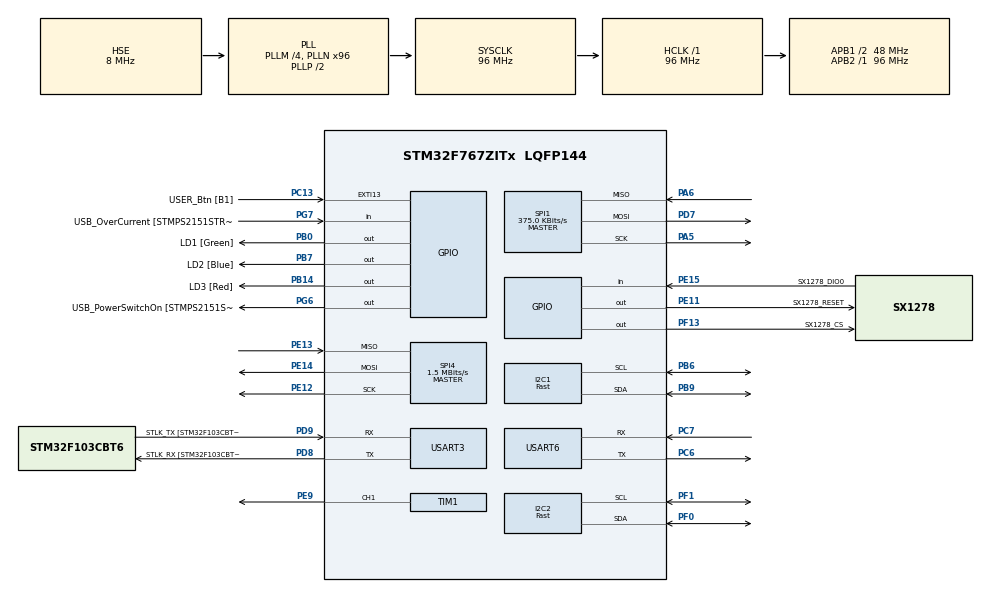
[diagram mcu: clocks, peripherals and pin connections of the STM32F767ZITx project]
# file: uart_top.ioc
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FREERTOS.Queues01=uartRxQueue,10,UART_Command_t,0,Dynamic,NULL,NULL;commandExecQueue,10,uint16_t,0,Dynamic,NULL,NULL
FREERTOS.Tasks01=UartParserTask,0,1024,Uart_Parser_Task,Default,NULL,Dynamic,NULL,NULL;defaultTask0,-3,128,defaultTask,Default,NULL,Dynamic,NULL,NULL;TaskDispatxher,-3,1024,Dispatcher_Task,Default,NULL,Dynamic,NULL,NULL
FREERTOS.configUSE_NEWLIB_REENTRANT=1
I2C1.I2C_Speed_Mode=I2C_Fast
I2C1.Timing=0x2010091A
I2C2.I2C_Speed_Mode=I2C_Fast
I2C2.Timing=0x2010091A
Mcu.Family=STM32F7
Mcu.Name=STM32F767ZITx
Mcu.Package=LQFP144
NVIC.PriorityGroup=NVIC_PRIORITYGROUP_4
NVIC.TIM6_DAC_IRQn=true\:15\:0\:false\:false\:true\:false\:false\:true\:true
NVIC.TimeBase=TIM6_DAC_IRQn
NVIC.TimeBaseIP=TIM6
NVIC.USART3_IRQn=true\:5\:0\:false\:false\:true\:true\:true\:true\:true
NVIC.USART6_IRQn=true\:5\:0\:false\:false\:true\:true\:true\:true\:true
PA1.GPIO_Label=RMII_REF_CLK [LAN8742A-CZ-TR_REFCLK0]
PA1.Signal=ETH_REF_CLK
PA10.GPIO_Label=USB_ID
PA10.Signal=USB_OTG_FS_ID
PA11.GPIO_Label=USB_DM
PA11.Signal=USB_OTG_FS_DM
PA12.GPIO_Label=USB_DP
PA12.Signal=USB_OTG_FS_DP
PA13.GPIO_Label=TMS
PA13.Mode=Serial_Wire
PA13.Signal=SYS_JTMS-SWDIO
PA14.GPIO_Label=TCK
PA14.Mode=Serial_Wire
PA14.Signal=SYS_JTCK-SWCLK
PA2.GPIO_Label=RMII_MDIO [LAN8742A-CZ-TR_MDIO]
PA2.Signal=ETH_MDIO
PA5.Mode=Full_Duplex_Master
PA5.Signal=SPI1_SCK
PA6.Mode=Full_Duplex_Master
PA6.Signal=SPI1_MISO
PA7.GPIO_Label=RMII_CRS_DV [LAN8742A-CZ-TR_CRS_DV]
PA7.Signal=ETH_CRS_DV
PA8.GPIO_Label=USB_SOF [TP1]
PA8.Signal=USB_OTG_FS_SOF
PA9.GPIO_Label=USB_VBUS
PA9.Signal=USB_OTG_FS_VBUS
PB0.GPIO_Label=LD1 [Green]
PB0.Signal=GPIO_Output
PB13.GPIO_Label=RMII_TXD1 [LAN8742A-CZ-TR_TXD1]
PB13.Signal=ETH_TXD1
PB14.GPIO_Label=LD3 [Red]
PB14.Signal=GPIO_Output
PB3.GPIO_Label=SWO
PB3.Signal=SYS_JTDO-SWO
PB6.Mode=I2C
PB6.Signal=I2C1_SCL
PB7.GPIO_Label=LD2 [Blue]
PB7.Signal=GPIO_Output
PB9.Mode=I2C
PB9.Signal=I2C1_SDA
PC1.GPIO_Label=RMII_MDC [LAN8742A-CZ-TR_MDC]
PC1.Signal=ETH_MDC
PC13.GPIO_Label=USER_Btn [B1]
PC13.Signal=GPXTI13
PC14/OSC32_IN.Mode=LSE-External-Oscillator
PC14/OSC32_IN.Signal=RCC_OSC32_IN
PC15/OSC32_OUT.Mode=LSE-External-Oscillator
PC15/OSC32_OUT.Signal=RCC_OSC32_OUT
PC4.GPIO_Label=RMII_RXD0 [LAN8742A-CZ-TR_RXD0]
PC4.Signal=ETH_RXD0
PC5.GPIO_Label=RMII_RXD1 [LAN8742A-CZ-TR_RXD1]
PC5.Signal=ETH_RXD1
PC6.Mode=Asynchronous
PC6.Signal=USART6_TX
PC7.Mode=Asynchronous
PC7.Signal=USART6_RX
PD7.Mode=Full_Duplex_Master
PD7.Signal=SPI1_MOSI
PD8.GPIO_Label=STLK_RX [STM32F103CBT6_PA3]
PD8.Mode=Asynchronous
PD8.Signal=USART3_TX
PD9.GPIO_Label=STLK_TX [STM32F103CBT6_PA2]
PD9.Mode=Asynchronous
PD9.Signal=USART3_RX
PE11.GPIO_Label=SX1278_RESET
PE11.PinState=GPIO_PIN_SET
PE11.Signal=GPIO_Output
PE12.Mode=Full_Duplex_Master
PE12.Signal=SPI4_SCK
PE13.Mode=Full_Duplex_Master
PE13.Signal=SPI4_MISO
PE14.Mode=Full_Duplex_Master
PE14.Signal=SPI4_MOSI
PE15.GPIO_Label=SX1278_DIO0
PE15.Signal=GPIO_Input
PE9.Signal=S_TIM1_CH1
PF0.Mode=I2C
PF0.Signal=I2C2_SDA
PF1.Mode=I2C
PF1.Signal=I2C2_SCL
PF13.GPIO_Label=SX1278_CS
PF13.PinState=GPIO_PIN_SET
PF13.Signal=GPIO_Output
PG11.GPIO_Label=RMII_TX_EN [LAN8742A-CZ-TR_TXEN]
PG11.Signal=ETH_TX_EN
PG13.GPIO_Label=RMII_TXD0 [LAN8742A-CZ-TR_TXD0]
PG13.Signal=ETH_TXD0
PG6.GPIO_Label=USB_PowerSwitchOn [STMPS2151STR_EN]
PG6.Signal=GPIO_Output
PG7.GPIO_Label=USB_OverCurrent [STMPS2151STR_FAULT]
PG7.Signal=GPIO_Input
PH0/OSC_IN.GPIO_Label=MCO [STM32F103CBT6_PA8]
PH0/OSC_IN.Mode=HSE-External-Clock-Source
PH0/OSC_IN.Signal=RCC_OSC_IN
PH1/OSC_OUT.Mode=HSE-External-Clock-Source
PH1/OSC_OUT.Signal=RCC_OSC_OUT
ProjectManager.HeapSize=0x200
ProjectManager.StackSize=0x400
ProjectManager.TargetToolchain=STM32CubeIDE
RCC.48MHZClocksFreq_Value=24000000
RCC.AHBFreq_Value=96000000
RCC.APB1CLKDivider=RCC_HCLK_DIV2
RCC.APB1Freq_Value=48000000
RCC.APB1TimFreq_Value=96000000
RCC.APB2Freq_Value=96000000
RCC.APB2TimFreq_Value=96000000
RCC.CortexFreq_Value=96000000
RCC.HCLKFreq_Value=96000000
RCC.HSE_VALUE=8000000
RCC.HSI_VALUE=16000000
RCC.PLLM=4
RCC.PLLMUL=RCC_PLL_MUL9
RCC.PLLN=96
RCC.PLLQ=4
RCC.PLLSourceVirtual=RCC_PLLSOURCE_HSE
RCC.PRESCALERUSB=RCC_USBCLKSOURCE_PLL_DIV1_5
RCC.SYSCLKFreq_VALUE=96000000
RCC.SYSCLKSource=RCC_SYSCLKSOURCE_PLLCLK
RCC.SYSCLKSourceVirtual=RCC_SYSCLKSOURCE_PLLCLK
RCC.USBFreq_Value=48000000
RCC.VCOOutputFreq_Value=192000000
SH.S_TIM1_CH1.0=TIM1_CH1,PWM Generation1 CH1
SPI1.BaudRatePrescaler=SPI_BAUDRATEPRESCALER_256
SPI1.CalculateBaudRate=375.0 KBits/s
SPI1.Direction=SPI_DIRECTION_2LINES
SPI1.Mode=SPI_MODE_MASTER
SPI1.VirtualType=VM_MASTER
SPI4.BaudRatePrescaler=SPI_BAUDRATEPRESCALER_64
SPI4.CalculateBaudRate=1.5 MBits/s
SPI4.Direction=SPI_DIRECTION_2LINES
SPI4.Mode=SPI_MODE_MASTER
SPI4.VirtualType=VM_MASTER
TIM1.Channel-PWM\ Generation1\ CH1=TIM_CHANNEL_1
TIM1.Period=10000
TIM1.Prescaler=9599
USART3.VirtualMode-Asynchronous=VM_ASYNC
USART6.VirtualMode-Asynchronous=VM_ASYNC
VP_FREERTOS_VS_CMSIS_V1.Mode=CMSIS_V1
VP_SYS_VS_tim6.Mode=TIM6
board=NUCLEO-F767ZI

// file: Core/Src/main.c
/* USER CODE BEGIN Header */
/**
  ******************************************************************************
  * @file           : main.c
  * @brief          : Main program body
  ******************************************************************************
  * @attention
  *
  * Copyright (c) 2025 STMicroelectronics.
  * All rights reserved.
  *
  * This software is licensed under terms that can be found in the LICENSE file
  * in the root directory of this software component.
  * If no LICENSE file comes with this software, it is provided AS-IS.
  *
  ******************************************************************************
  */
/* USER CODE END Header */
#include "main.h"
#include "cmsis_os.h"
#include "i2c.h"
#include "spi.h"
#include "tim.h"
#include "usart.h"
#include "gpio.h"

void SystemClock_Config(void);
void MX_FREERTOS_Init(void);

int main(void)
{

  /* MCU Configuration--------------------------------------------------------*/

  /* Reset of all peripherals, Initializes the Flash interface and the Systick. */
  HAL_Init();

  /* Configure the system clock */
  SystemClock_Config();

  /* Initialize all configured peripherals */
  MX_GPIO_Init();
  MX_USART3_UART_Init();
  MX_TIM1_Init();
  MX_I2C1_Init();
  MX_I2C2_Init();
  MX_USART6_UART_Init();
  MX_SPI4_Init();
  MX_SPI1_Init();
  /* USER CODE BEGIN 2 */

  //HAL_UART_Receive_IT(&huart3, rxBuffer, RX_BUFFER_SIZE);

  /* USER CODE END 2 */

  /* Call init function for freertos objects (in cmsis_os2.c) */
  MX_FREERTOS_Init();

  /* Start scheduler */
  osKernelStart();

  /* We should never get here as control is now taken by the scheduler */

  /* Infinite loop */
  while (1)
  {

  }
}

void SystemClock_Config(void)
{
  RCC_OscInitTypeDef RCC_OscInitStruct = {0};
  RCC_ClkInitTypeDef RCC_ClkInitStruct = {0};

  /** Configure LSE Drive Capability
  */
  HAL_PWR_EnableBkUpAccess();

  /** Configure the main internal regulator output voltage
  */
  __HAL_RCC_PWR_CLK_ENABLE();
  __HAL_PWR_VOLTAGESCALING_CONFIG(PWR_REGULATOR_VOLTAGE_SCALE3);

  /** Initializes the RCC Oscillators according to the specified parameters
  * in the RCC_OscInitTypeDef structure.
  */
  RCC_OscInitStruct.OscillatorType = RCC_OSCILLATORTYPE_HSE;
  RCC_OscInitStruct.HSEState = RCC_HSE_BYPASS;
  RCC_OscInitStruct.PLL.PLLState = RCC_PLL_ON;
  RCC_OscInitStruct.PLL.PLLSource = RCC_PLLSOURCE_HSE;
  RCC_OscInitStruct.PLL.PLLM = 4;
  RCC_OscInitStruct.PLL.PLLN = 96;
  RCC_OscInitStruct.PLL.PLLP = RCC_PLLP_DIV2;
  RCC_OscInitStruct.PLL.PLLQ = 4;
  RCC_OscInitStruct.PLL.PLLR = 2;
  if (HAL_RCC_OscConfig(&RCC_OscInitStruct) != HAL_OK)
  {
    Error_Handler();
  }

  /** Activate the Over-Drive mode
  */
  if (HAL_PWREx_EnableOverDrive() != HAL_OK)
  {
    Error_Handler();
  }

  /** Initializes the CPU, AHB and APB buses clocks
  */
  RCC_ClkInitStruct.ClockType = RCC_CLOCKTYPE_HCLK|RCC_CLOCKTYPE_SYSCLK
                              |RCC_CLOCKTYPE_PCLK1|RCC_CLOCKTYPE_PCLK2;
  RCC_ClkInitStruct.SYSCLKSource = RCC_SYSCLKSOURCE_PLLCLK;
  RCC_ClkInitStruct.AHBCLKDivider = RCC_SYSCLK_DIV1;
  RCC_ClkInitStruct.APB1CLKDivider = RCC_HCLK_DIV2;
  RCC_ClkInitStruct.APB2CLKDivider = RCC_HCLK_DIV1;

  if (HAL_RCC_ClockConfig(&RCC_ClkInitStruct, FLASH_LATENCY_3) != HAL_OK)
  {
    Error_Handler();
  }
}

void HAL_TIM_PeriodElapsedCallback(TIM_HandleTypeDef *htim)
{
  if (htim->Instance == TIM6) {
    HAL_IncTick();
  }
}

void Error_Handler(void)
{
  __disable_irq();
  while (1)
  {
  }
}

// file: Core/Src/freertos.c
/* USER CODE BEGIN Header */
/**
  ******************************************************************************
  * File Name          : freertos.c
  * Description        : Code for freertos applications
  ******************************************************************************
  * @attention
  *
  * Copyright (c) 2025 STMicroelectronics.
  * All rights reserved.
  *
  * This software is licensed under terms that can be found in the LICENSE file
  * in the root directory of this software component.
  * If no LICENSE file comes with this software, it is provided AS-IS.
  *
  ******************************************************************************
  */
/* USER CODE END Header */

#include "FreeRTOS.h"
#include "task.h"
#include "main.h"
#include "cmsis_os.h"

/* USER CODE BEGIN Includes */
#include "usart.h"
#include "parser.h"
#include "commands.h"
#include <stdio.h>
/* USER CODE END Includes */

/* USER CODE BEGIN Variables */
/* External declarations */

/* USER CODE END Variables */
osThreadId UartParserTaskHandle;
osThreadId defaultTask0Handle;
osThreadId TaskDispatxherHandle;
osMessageQId uartRxQueueHandle;
osMessageQId commandExecQueueHandle;

void Uart_Parser_Task(void const * argument);
void defaultTask(void const * argument);
void Dispatcher_Task(void const * argument);

void MX_FREERTOS_Init(void); /* (MISRA C 2004 rule 8.1) */

/* GetIdleTaskMemory prototype (linked to static allocation support) */
void vApplicationGetIdleTaskMemory( StaticTask_t **ppxIdleTaskTCBBuffer, StackType_t **ppxIdleTaskStackBuffer, uint32_t *pulIdleTaskStackSize );

/* USER CODE BEGIN GET_IDLE_TASK_MEMORY */
static StaticTask_t xIdleTaskTCBBuffer;
static StackType_t xIdleStack[configMINIMAL_STACK_SIZE];

void vApplicationGetIdleTaskMemory( StaticTask_t **ppxIdleTaskTCBBuffer, StackType_t **ppxIdleTaskStackBuffer, uint32_t *pulIdleTaskStackSize )
{
  *ppxIdleTaskTCBBuffer = &xIdleTaskTCBBuffer;
  *ppxIdleTaskStackBuffer = &xIdleStack[0];
  *pulIdleTaskStackSize = configMINIMAL_STACK_SIZE;
  /* place for user code */
}
/* USER CODE END GET_IDLE_TASK_MEMORY */

void MX_FREERTOS_Init(void) {

  /* Create the queue(s) */
  /* definition and creation of uartRxQueue */
  osMessageQDef(uartRxQueue, 10, UART_Command_t);
  uartRxQueueHandle = osMessageCreate(osMessageQ(uartRxQueue), NULL);

  /* definition and creation of commandExecQueue */
  osMessageQDef(commandExecQueue, 10, uint16_t);
  commandExecQueueHandle = osMessageCreate(osMessageQ(commandExecQueue), NULL);

  /* Create the thread(s) */
  /* definition and creation of UartParserTask */
  osThreadDef(UartParserTask, Uart_Parser_Task, osPriorityNormal, 0, 1024);
  UartParserTaskHandle = osThreadCreate(osThread(UartParserTask), NULL);

  /* definition and creation of defaultTask0 */
  osThreadDef(defaultTask0, defaultTask, osPriorityIdle, 0, 128);
  defaultTask0Handle = osThreadCreate(osThread(defaultTask0), NULL);

  /* definition and creation of TaskDispatxher */
  osThreadDef(TaskDispatxher, Dispatcher_Task, osPriorityIdle, 0, 1024);
  TaskDispatxherHandle = osThreadCreate(osThread(TaskDispatxher), NULL);

}

void Uart_Parser_Task(void const * argument)
{
  /* USER CODE BEGIN Uart_Parser_Task */
	char commandBuffer[MSG_BUFFER_SIZE];
	//HAL_UART_Receive_IT(&huart3, (uint8_t*)&rxBuffer, 1);
	HAL_UART_Receive_IT(&huart6, (uint8_t*)&rxBuffer, 1);
  /* Infinite loop */
  for(;;)
  {
	if(complete6) {
	  strncpy(commandBuffer, (char*)receivedData, MSG_BUFFER_SIZE);
	  complete6 = 0;
	  receivedIndex6 = 0;
	  if(validateCommand(commandBuffer)) {
		parseCommand(commandBuffer);
	  }
	}else{
		LoRa_Receive();
		strncpy(commandBuffer, (char*)receivedData, MSG_BUFFER_SIZE);
		receivedIndex6 = 0;
		if(validateCommand(commandBuffer)) {
			parseCommand(commandBuffer);
		}
	}
	osDelay(1);
  }
  /* USER CODE END Uart_Parser_Task */
}

void defaultTask(void const * argument)
{
  for(;;)
  {
    osDelay(1);
  }
}

void Dispatcher_Task(void const * argument)
{
  /* USER CODE BEGIN Dispatcher_Task */
	osEvent event;
	char *command;
  /* Infinite loop */
  for(;;)
  {
	  event = osMessageGet(commandExecQueueHandle, osWaitForever);
		  if(event.status == osEventMessage) {
			  command = (char *)event.value.v;

			  for(int i = 0; commandTable[i].cmd != NULL; i++) {
				  if(strncmp(command, commandTable[i].cmd, strlen(commandTable[i].cmd)) == 0) {
					  osThreadDef_t cmdTaskDef = {
						  .name = commandTable[i].cmd,
						  .pthread = commandTable[i].handler,
						  .tpriority = osPriorityNormal,
						  .instances = 1,
						  .stacksize = 256
					  };
					  osThreadCreate(&cmdTaskDef, NULL);
					  break;
				  }
			  }
		  }
    osDelay(1);
  }
  /* USER CODE END Dispatcher_Task */
}
